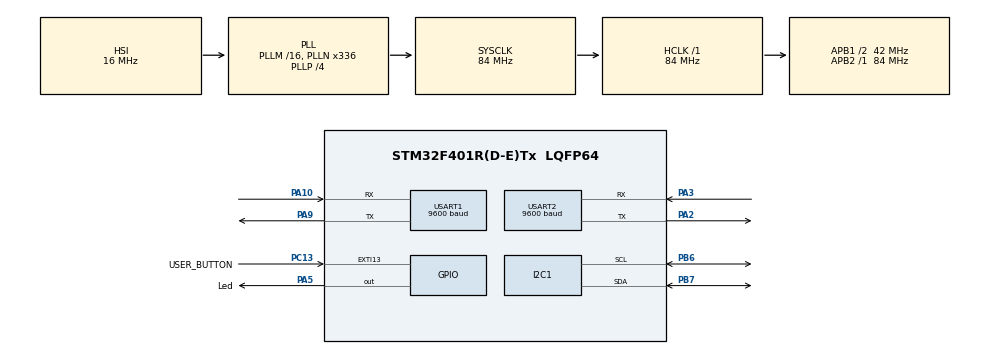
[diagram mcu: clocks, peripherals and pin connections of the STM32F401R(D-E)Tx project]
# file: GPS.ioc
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Dma.Request0=USART1_RX
Dma.USART1_RX.0.Direction=DMA_PERIPH_TO_MEMORY
Dma.USART1_RX.0.FIFOMode=DMA_FIFOMODE_DISABLE
Dma.USART1_RX.0.Instance=DMA2_Stream2
Dma.USART1_RX.0.MemDataAlignment=DMA_MDATAALIGN_BYTE
Dma.USART1_RX.0.MemInc=DMA_MINC_ENABLE
Dma.USART1_RX.0.Mode=DMA_NORMAL
Dma.USART1_RX.0.PeriphDataAlignment=DMA_PDATAALIGN_BYTE
Dma.USART1_RX.0.PeriphInc=DMA_PINC_DISABLE
Dma.USART1_RX.0.Priority=DMA_PRIORITY_LOW
I2C1.I2C_Mode=I2C_Fast
Mcu.Family=STM32F4
Mcu.Name=STM32F401R(D-E)Tx
Mcu.Package=LQFP64
NVIC.DMA2_Stream2_IRQn=true\:0\:0\:false\:false\:true\:false\:true\:true
NVIC.EXTI15_10_IRQn=true\:0\:0\:false\:false\:true\:true\:true\:true
NVIC.PriorityGroup=NVIC_PRIORITYGROUP_0
NVIC.USART1_IRQn=true\:0\:0\:false\:false\:true\:true\:true\:true
NVIC.USART2_IRQn=true\:0\:0\:false\:false\:true\:true\:true\:true
PA10.Mode=Asynchronous
PA10.Signal=USART1_RX
PA2.Mode=Asynchronous
PA2.Signal=USART2_TX
PA3.Mode=Asynchronous
PA3.Signal=USART2_RX
PA5.GPIO_Label=Led
PA5.Signal=GPIO_Output
PA9.Mode=Asynchronous
PA9.Signal=USART1_TX
PB6.Mode=I2C
PB6.Signal=I2C1_SCL
PB7.Mode=I2C
PB7.Signal=I2C1_SDA
PC13-ANTI_TAMP.GPIO_Label=USER_BUTTON
PC13-ANTI_TAMP.Signal=GPXTI13
PC14-OSC32_IN.Mode=LSE-External-Oscillator
PC14-OSC32_IN.Signal=RCC_OSC32_IN
PC15-OSC32_OUT.Mode=LSE-External-Oscillator
PC15-OSC32_OUT.Signal=RCC_OSC32_OUT
PH0\ -\ OSC_IN.Mode=HSE-External-Oscillator
PH0\ -\ OSC_IN.Signal=RCC_OSC_IN
PH1\ -\ OSC_OUT.Mode=HSE-External-Oscillator
PH1\ -\ OSC_OUT.Signal=RCC_OSC_OUT
ProjectManager.HeapSize=0x200
ProjectManager.StackSize=0x400
ProjectManager.TargetToolchain=STM32CubeIDE
RCC.48MHZClocksFreq_Value=48000000
RCC.AHBFreq_Value=84000000
RCC.APB1CLKDivider=RCC_HCLK_DIV2
RCC.APB1Freq_Value=42000000
RCC.APB1TimFreq_Value=84000000
RCC.APB2Freq_Value=84000000
RCC.APB2TimFreq_Value=84000000
RCC.CortexFreq_Value=84000000
RCC.HCLKFreq_Value=84000000
RCC.HSE_VALUE=8000000
RCC.HSI_VALUE=16000000
RCC.PLLN=336
RCC.PLLP=RCC_PLLP_DIV4
RCC.PLLQ=7
RCC.SYSCLKFreq_VALUE=84000000
RCC.SYSCLKSource=RCC_SYSCLKSOURCE_PLLCLK
RCC.VCOOutputFreq_Value=336000000
USART1.BaudRate=9600
USART1.VirtualMode=VM_ASYNC
USART2.BaudRate=9600
USART2.VirtualMode=VM_ASYNC
board=NUCLEO-F401RE

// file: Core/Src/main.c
/* USER CODE BEGIN Header */
/**
  ******************************************************************************
  * @file           : main.c
  * @brief          : Main program body
  ******************************************************************************
  * @attention
  *
  * Copyright (c) 2022 STMicroelectronics.
  * All rights reserved.
  *
  * This software is licensed under terms that can be found in the LICENSE file
  * in the root directory of this software component.
  * If no LICENSE file comes with this software, it is provided AS-IS.
  *
  ******************************************************************************
  */
/* USER CODE END Header */
#include "main.h"

/* USER CODE BEGIN Includes */
#include <stdio.h>
#include <string.h>
#include <stdlib.h>
#include <math.h>
#include "fonts.h"
#include "ssd1306.h"
#include "gps_data_types.h"

/* USER CODE END Includes */

/* USER CODE BEGIN PD */
#define Min_To_Degree  0.01666666667
#define Sec_To_Degree	 0.000277777778
/* USER CODE END PD */

I2C_HandleTypeDef hi2c1;

UART_HandleTypeDef huart1;
UART_HandleTypeDef huart2;
DMA_HandleTypeDef hdma_usart1_rx;

/* USER CODE BEGIN PV */

int Flag=0;
Neo6M_GpsData NEO_GPS;
uint8_t displayMode = 0;

/* USER CODE END PV */

void SystemClock_Config(void);
static void MX_GPIO_Init(void);
static void MX_DMA_Init(void);
static void MX_USART1_UART_Init(void);
static void MX_USART2_UART_Init(void);
static void MX_I2C1_Init(void);
/* USER CODE BEGIN PFP */
void Get_GpsData(Neo6M_GpsData* GpsData);
static void NEO_GPS_Location(Neo6M_GpsData* GpsData);
void Display_GPS_Data_On_OLED(Neo6M_GpsData* GpsData);
void Display_PlusCode_On_OLED(Neo6M_GpsData* GpsData);
void LatLongToPlusCode(double lat, double lon, char* plusCode, size_t size);

/* USER CODE END PFP */

/* USER CODE BEGIN 0 */
void HAL_GPIO_EXTI_Callback(uint16_t GPIO_Pin)
{
  if(GPIO_Pin == USER_BUTTON_Pin) {
    // Chuyển đổi chế độ hiển thị
    displayMode = (displayMode + 1) % 2;

    // Hiển thị ngay trên OLED
    if(displayMode == 0) {
      Display_GPS_Data_On_OLED(&NEO_GPS);
    } else {
      Display_PlusCode_On_OLED(&NEO_GPS);
    }
  }
}

/* USER CODE END 0 */

int main(void)
{

  /* MCU Configuration--------------------------------------------------------*/

  /* Reset of all peripherals, Initializes the Flash interface and the Systick. */
  HAL_Init();

  /* Configure the system clock */
  SystemClock_Config();

  /* Initialize all configured peripherals */
  MX_GPIO_Init();
  MX_DMA_Init();
  MX_USART1_UART_Init();
  MX_USART2_UART_Init();
  MX_I2C1_Init();
  /* USER CODE BEGIN 2 */
	NEO_GPS.UartPort=huart1;
	// Khởi tạo OLED
	  SSD1306_Init();
	  SSD1306_Clear();
	  SSD1306_GotoXY(0, 20);
	  SSD1306_Puts("GPS TRACKER", &Font_11x18, SSD1306_COLOR_WHITE);
	  SSD1306_GotoXY(0, 40);
	  SSD1306_Puts("Initializing...", &Font_7x10, SSD1306_COLOR_WHITE);
	  SSD1306_UpdateScreen();
	  HAL_Delay(2000);
  /* USER CODE END 2 */

  /* Infinite loop */
  while (1)
  {

    /* USER CODE BEGIN 3 */
	     // Nhận dữ liệu GPS
	     Get_GpsData(&NEO_GPS);

	     // Nếu dữ liệu GPS hợp lệ, tính toán Plus Code và hiển thị trên OLED
	     if(NEO_GPS.latitude != 0.0 && NEO_GPS.longitude != 0.0) {
	       // Tính toán Plus Code
	       LatLongToPlusCode(NEO_GPS.latitude, NEO_GPS.longitude, NEO_GPS.plusCode, sizeof(NEO_GPS.plusCode));

	       // Hiển thị dữ liệu theo chế độ hiện tại
	       if(displayMode == 0) {
	         Display_GPS_Data_On_OLED(&NEO_GPS);
	       } else {
	         Display_PlusCode_On_OLED(&NEO_GPS);
	       }

	       // Gửi thông tin GPS qua UART2 (terminal)
	       char uart_buffer[200];
	       snprintf(uart_buffer, sizeof(uart_buffer),
	                "GPS: %.6f,%6f | Plus Code: %s | URL: https://goo.gl/maps/%d%d\r\n",
	                NEO_GPS.latitude, NEO_GPS.longitude, NEO_GPS.plusCode,
	                (int)(fabs(NEO_GPS.latitude) * 1000000) % 1000000,
	                (int)(fabs(NEO_GPS.longitude) * 1000000) % 1000000);
	       HAL_UART_Transmit(&huart2, (uint8_t*)uart_buffer, strlen(uart_buffer), HAL_MAX_DELAY);
	     }

	     // Thêm thời gian trễ để tránh cập nhật quá nhanh
	     HAL_Delay(1000);
	}
  /* USER CODE END 3 */
}

void SystemClock_Config(void)
{
  RCC_OscInitTypeDef RCC_OscInitStruct = {0};
  RCC_ClkInitTypeDef RCC_ClkInitStruct = {0};

  /** Configure the main internal regulator output voltage
  */
  __HAL_RCC_PWR_CLK_ENABLE();
  __HAL_PWR_VOLTAGESCALING_CONFIG(PWR_REGULATOR_VOLTAGE_SCALE2);

  /** Initializes the RCC Oscillators according to the specified parameters
  * in the RCC_OscInitTypeDef structure.
  */
  RCC_OscInitStruct.OscillatorType = RCC_OSCILLATORTYPE_HSI;
  RCC_OscInitStruct.HSIState = RCC_HSI_ON;
  RCC_OscInitStruct.HSICalibrationValue = RCC_HSICALIBRATION_DEFAULT;
  RCC_OscInitStruct.PLL.PLLState = RCC_PLL_ON;
  RCC_OscInitStruct.PLL.PLLSource = RCC_PLLSOURCE_HSI;
  RCC_OscInitStruct.PLL.PLLM = 16;
  RCC_OscInitStruct.PLL.PLLN = 336;
  RCC_OscInitStruct.PLL.PLLP = RCC_PLLP_DIV4;
  RCC_OscInitStruct.PLL.PLLQ = 7;
  if (HAL_RCC_OscConfig(&RCC_OscInitStruct) != HAL_OK)
  {
    Error_Handler();
  }

  /** Initializes the CPU, AHB and APB buses clocks
  */
  RCC_ClkInitStruct.ClockType = RCC_CLOCKTYPE_HCLK|RCC_CLOCKTYPE_SYSCLK
                              |RCC_CLOCKTYPE_PCLK1|RCC_CLOCKTYPE_PCLK2;
  RCC_ClkInitStruct.SYSCLKSource = RCC_SYSCLKSOURCE_PLLCLK;
  RCC_ClkInitStruct.AHBCLKDivider = RCC_SYSCLK_DIV1;
  RCC_ClkInitStruct.APB1CLKDivider = RCC_HCLK_DIV2;
  RCC_ClkInitStruct.APB2CLKDivider = RCC_HCLK_DIV1;

  if (HAL_RCC_ClockConfig(&RCC_ClkInitStruct, FLASH_LATENCY_2) != HAL_OK)
  {
    Error_Handler();
  }
}

static void MX_I2C1_Init(void)
{

  hi2c1.Instance = I2C1;
  hi2c1.Init.ClockSpeed = 400000;
  hi2c1.Init.DutyCycle = I2C_DUTYCYCLE_2;
  hi2c1.Init.OwnAddress1 = 0;
  hi2c1.Init.AddressingMode = I2C_ADDRESSINGMODE_7BIT;
  hi2c1.Init.DualAddressMode = I2C_DUALADDRESS_DISABLE;
  hi2c1.Init.OwnAddress2 = 0;
  hi2c1.Init.GeneralCallMode = I2C_GENERALCALL_DISABLE;
  hi2c1.Init.NoStretchMode = I2C_NOSTRETCH_DISABLE;
  if (HAL_I2C_Init(&hi2c1) != HAL_OK)
  {
    Error_Handler();
  }

}

static void MX_USART1_UART_Init(void)
{

  huart1.Instance = USART1;
  huart1.Init.BaudRate = 9600;
  huart1.Init.WordLength = UART_WORDLENGTH_8B;
  huart1.Init.StopBits = UART_STOPBITS_1;
  huart1.Init.Parity = UART_PARITY_NONE;
  huart1.Init.Mode = UART_MODE_TX_RX;
  huart1.Init.HwFlowCtl = UART_HWCONTROL_NONE;
  huart1.Init.OverSampling = UART_OVERSAMPLING_16;
  if (HAL_UART_Init(&huart1) != HAL_OK)
  {
    Error_Handler();
  }
  /* USER CODE BEGIN USART1_Init 2 */
		__HAL_UART_ENABLE_IT(&huart1,UART_IT_RXNE);
  /* USER CODE END USART1_Init 2 */

}

static void MX_USART2_UART_Init(void)
{

  huart2.Instance = USART2;
  huart2.Init.BaudRate = 9600;
  huart2.Init.WordLength = UART_WORDLENGTH_8B;
  huart2.Init.StopBits = UART_STOPBITS_1;
  huart2.Init.Parity = UART_PARITY_NONE;
  huart2.Init.Mode = UART_MODE_TX_RX;
  huart2.Init.HwFlowCtl = UART_HWCONTROL_NONE;
  huart2.Init.OverSampling = UART_OVERSAMPLING_16;
  if (HAL_UART_Init(&huart2) != HAL_OK)
  {
    Error_Handler();
  }

}

static void MX_DMA_Init(void)
{

  /* DMA controller clock enable */
  __HAL_RCC_DMA2_CLK_ENABLE();

  /* DMA interrupt init */
  /* DMA2_Stream2_IRQn interrupt configuration */
  HAL_NVIC_SetPriority(DMA2_Stream2_IRQn, 0, 0);
  HAL_NVIC_EnableIRQ(DMA2_Stream2_IRQn);

}

static void MX_GPIO_Init(void)
{
  GPIO_InitTypeDef GPIO_InitStruct = {0};

  /* GPIO Ports Clock Enable */
  __HAL_RCC_GPIOC_CLK_ENABLE();
  __HAL_RCC_GPIOH_CLK_ENABLE();
  __HAL_RCC_GPIOA_CLK_ENABLE();
  __HAL_RCC_GPIOB_CLK_ENABLE();

  /*Configure GPIO pin Output Level */
  HAL_GPIO_WritePin(Led_GPIO_Port, Led_Pin, GPIO_PIN_RESET);

  /*Configure GPIO pin : USER_BUTTON_Pin */
  GPIO_InitStruct.Pin = USER_BUTTON_Pin;
  GPIO_InitStruct.Mode = GPIO_MODE_IT_RISING;
  GPIO_InitStruct.Pull = GPIO_NOPULL;
  HAL_GPIO_Init(USER_BUTTON_GPIO_Port, &GPIO_InitStruct);

  /*Configure GPIO pin : Led_Pin */
  GPIO_InitStruct.Pin = Led_Pin;
  GPIO_InitStruct.Mode = GPIO_MODE_OUTPUT_PP;
  GPIO_InitStruct.Pull = GPIO_NOPULL;
  GPIO_InitStruct.Speed = GPIO_SPEED_FREQ_LOW;
  HAL_GPIO_Init(Led_GPIO_Port, &GPIO_InitStruct);

  /* EXTI interrupt init*/
  HAL_NVIC_SetPriority(EXTI15_10_IRQn, 0, 0);
  HAL_NVIC_EnableIRQ(EXTI15_10_IRQn);

}

/* USER CODE BEGIN 4 */
void Get_GpsData(Neo6M_GpsData* GpsData)
{
    char *P;
    int n;
    if (Flag == 1)
    {
        HAL_UART_Receive(&GpsData->UartPort, (uint8_t*)GpsData->Data, 700, HAL_MAX_DELAY);
        P = strstr(GpsData->Data, "GPRMC");
        if (*P == 'G')
        {
            n = 0;
            while (*(P + n) != '\n') {
                GpsData->location[n] = *(P + n);
                n++;
            }

            sprintf(GpsData->buffer, "%s\r\n\n", GpsData->location);
            sscanf(GpsData->buffer, "GPRMC,%lf,A,%lf,%c,%lf,%c,%lf,,%lf,,,A*64",
                   &GpsData->time, &GpsData->latitude, &GpsData->N_OR_S,
                   &GpsData->longitude, &GpsData->E_OR_W, &GpsData->Knots, &GpsData->Date);

            NEO_GPS_Location(GpsData);

            // ➕ In ra link Google Maps
            char map_link[128];
            snprintf(map_link, sizeof(map_link), "https://www.google.com/maps?q=%.6f,%.6f\r\n",
                     GpsData->latitude, GpsData->longitude);
            HAL_UART_Transmit(&huart2, (uint8_t*)map_link, strlen(map_link), HAL_MAX_DELAY);
        }

        __HAL_UART_ENABLE_IT(&GpsData->UartPort, UART_IT_RXNE);
        Flag = 0;
    }
}

static void NEO_GPS_Location(Neo6M_GpsData* GpsData)
{
    // Longitude
    int lon_deg = (int)(GpsData->longitude / 100);
    double lon_min = GpsData->longitude - (lon_deg * 100);
    GpsData->longitude = lon_deg + lon_min / 60.0;
    if (GpsData->E_OR_W == 'W') GpsData->longitude *= -1;

    // Latitude
    int lat_deg = (int)(GpsData->latitude / 100);
    double lat_min = GpsData->latitude - (lat_deg * 100);
    GpsData->latitude = lat_deg + lat_min / 60.0;
    if (GpsData->N_OR_S == 'S') GpsData->latitude *= -1;
}

/* USER CODE END 4 */

void Error_Handler(void)
{
  __disable_irq();
  while (1)
  {
  }
}
